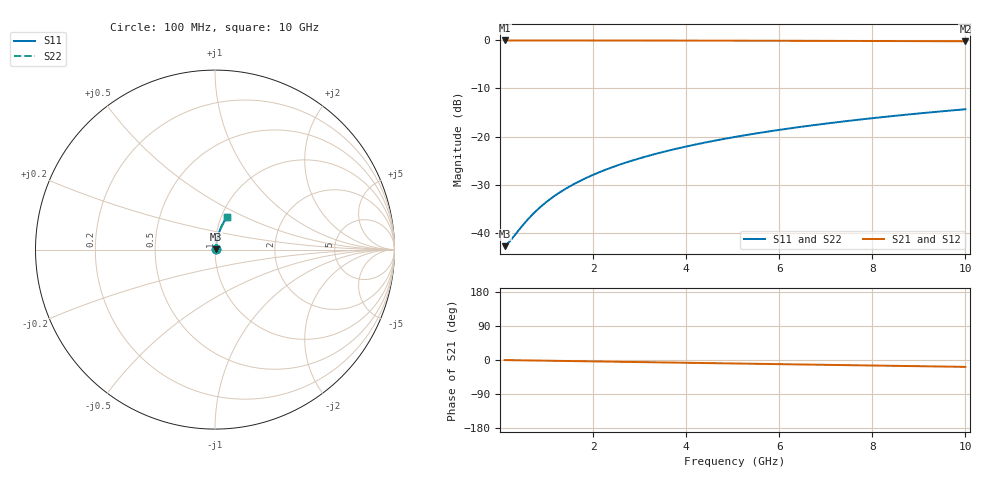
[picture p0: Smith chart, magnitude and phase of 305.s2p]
# Hz S RI R 50.00
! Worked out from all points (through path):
!   100 points, 100 MHz to 10 GHz, reference 50 ohm
!   highest |S21| = -0.06 dB at 100 MHz (marker M1); lowest = -0.2 dB at 10 GHz (marker M2)
!   group delay of S21, straight-line fit = 5.04 ps
!   lowest |S11| = -42.8 dB at 100 MHz (marker M3), VSWR 1.01, Z = 50.7 + j0.197 ohm
!   |S11| at or under -10 dB: start of sweep to end of sweep
!   |S22| runs from -42.8 to -14.3 dB; largest |S21 - S12| = 0
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1e8  0.00701 0.00194  0.993 -0.00317  0.993 -0.00317  0.00701 0.00194
2e8  0.00707 0.00389  0.9929 -0.00634  0.9929 -0.00634  0.00707 0.00389
5e8  0.00729 0.00972  0.9927 -0.0158  0.9927 -0.0158  0.00729 0.00972
6e8  0.00737 0.0117  0.9926 -0.019  0.9926 -0.019  0.00737 0.0117
7e8  0.00747 0.0136  0.9925 -0.0222  0.9925 -0.0222  0.00747 0.0136
9e8  0.0077 0.0175  0.9922 -0.0285  0.9922 -0.0285  0.0077 0.0175
1.1e9  0.00798 0.0214  0.9919 -0.0348  0.9919 -0.0348  0.00798 0.0214
1.3e9  0.0083 0.0252  0.9916 -0.0412  0.9916 -0.0412  0.0083 0.0252
1.5e9  0.00867 0.0291  0.9911 -0.0475  0.9911 -0.0475  0.00867 0.0291
1.8e9  0.00931 0.0349  0.9904 -0.0569  0.9904 -0.0569  0.00931 0.0349
2.1e9  0.0101 0.0407  0.9896 -0.0664  0.9896 -0.0664  0.0101 0.0407
2.5e9  0.0112 0.0483  0.9883 -0.079  0.9883 -0.079  0.0112 0.0483
2.9e9  0.0126 0.056  0.9867 -0.0915  0.9867 -0.0915  0.0126 0.056
3.4e9  0.0146 0.0655  0.9845 -0.1072  0.9845 -0.1072  0.0146 0.0655
3.8e9  0.0164 0.073  0.9825 -0.1196  0.9825 -0.1196  0.0164 0.073
4.2e9  0.0183 0.0805  0.9803 -0.132  0.9803 -0.132  0.0183 0.0805
5.1e9  0.0235 0.0971  0.9745 -0.1597  0.9745 -0.1597  0.0235 0.0971
5.9e9  0.0288 0.1115  0.9685 -0.184  0.9685 -0.184  0.0288 0.1115
6.7e9  0.0349 0.1257  0.9617 -0.208  0.9617 -0.208  0.0349 0.1257
7.5e9  0.0416 0.1394  0.9541 -0.2316  0.9541 -0.2316  0.0416 0.1394
8.4e9  0.05 0.1545  0.9446 -0.2578  0.9446 -0.2578  0.05 0.1545
1e10  0.0668 0.1798  0.9255 -0.3029  0.9255 -0.3029  0.0668 0.1798
